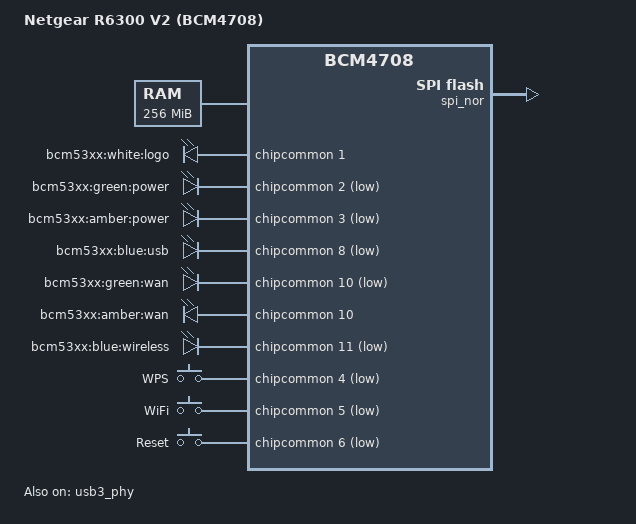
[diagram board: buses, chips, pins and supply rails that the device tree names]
// SPDX-License-Identifier: GPL-2.0-or-later OR MIT
/*
 * Broadcom BCM470X / BCM5301X ARM platform code.
 * DTS for Netgear R6300 V2
 *
 * Copyright (C) 2014 Rafał Miłecki <zajec5@gmail.com>
 */

/dts-v1/;

#include "bcm4708.dtsi"
#include "bcm5301x-nand-cs0-bch8.dtsi"

/ {
	compatible = "netgear,r6300v2", "brcm,bcm4708";
	model = "Netgear R6300 V2 (BCM4708)";

	chosen {
		bootargs = "console=ttyS0,115200";
	};

	memory@0 {
		device_type = "memory";
		reg = <0x00000000 0x08000000>,
		      <0x88000000 0x08000000>;
	};

	leds {
		compatible = "gpio-leds";

		logo {
			label = "bcm53xx:white:logo";
			gpios = <&chipcommon 1 GPIO_ACTIVE_HIGH>;
			linux,default-trigger = "default-on";
		};

		power-green {
			label = "bcm53xx:green:power";
			gpios = <&chipcommon 2 GPIO_ACTIVE_LOW>;
			linux,default-trigger = "default-on";
		};

		power-amber {
			label = "bcm53xx:amber:power";
			gpios = <&chipcommon 3 GPIO_ACTIVE_LOW>;
		};

		usb {
			label = "bcm53xx:blue:usb";
			gpios = <&chipcommon 8 GPIO_ACTIVE_LOW>;
			trigger-sources = <&ohci_port1>, <&ehci_port1>, <&xhci_port1>;
			linux,default-trigger = "usbport";
		};

		wan-green {
			label = "bcm53xx:green:wan";
			gpios = <&chipcommon 10 GPIO_ACTIVE_LOW>;
		};

		wan-amber {
			label = "bcm53xx:amber:wan";
			gpios = <&chipcommon 10 GPIO_ACTIVE_HIGH>;
		};

		wireless {
			label = "bcm53xx:blue:wireless";
			gpios = <&chipcommon 11 GPIO_ACTIVE_LOW>;
		};
	};

	gpio-keys {
		compatible = "gpio-keys";

		wps {
			label = "WPS";
			linux,code = <KEY_WPS_BUTTON>;
			gpios = <&chipcommon 4 GPIO_ACTIVE_LOW>;
		};

		rfkill {
			label = "WiFi";
			linux,code = <KEY_RFKILL>;
			gpios = <&chipcommon 5 GPIO_ACTIVE_LOW>;
		};

		restart {
			label = "Reset";
			linux,code = <KEY_RESTART>;
			gpios = <&chipcommon 6 GPIO_ACTIVE_LOW>;
		};
	};
};

&usb2 {
	vcc-gpio = <&chipcommon 0 GPIO_ACTIVE_HIGH>;
};

&usb3 {
	vcc-gpio = <&chipcommon 0 GPIO_ACTIVE_HIGH>;
};

&spi_nor {
	status = "okay";
};

&usb3_phy {
	status = "okay";
};
